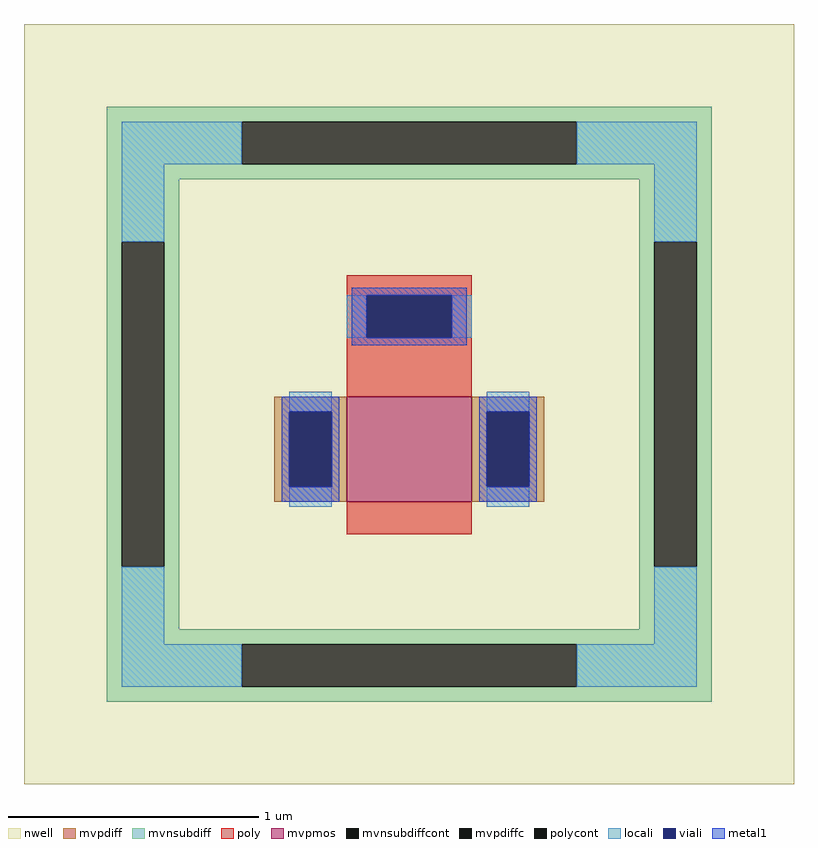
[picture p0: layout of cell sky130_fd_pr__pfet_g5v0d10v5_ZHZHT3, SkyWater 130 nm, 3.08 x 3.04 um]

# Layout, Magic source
magic
tech sky130A
magscale 1 2
<< nwell >>
rect -308 -304 308 304
<< mvpmos >>
rect -50 -78 50 6
<< mvpdiff >>
rect -108 -6 -50 6
rect -108 -66 -96 -6
rect -62 -66 -50 -6
rect -108 -78 -50 -66
rect 50 -6 108 6
rect 50 -66 62 -6
rect 96 -66 108 -6
rect 50 -78 108 -66
<< mvpdiffc >>
rect -96 -66 -62 -6
rect 62 -66 96 -6
<< mvnsubdiff >>
rect -242 226 242 238
rect -242 192 -134 226
rect 134 192 242 226
rect -242 180 242 192
rect -242 130 -184 180
rect -242 -130 -230 130
rect -196 -130 -184 130
rect 184 130 242 180
rect -242 -180 -184 -130
rect 184 -130 196 130
rect 230 -130 242 130
rect 184 -180 242 -130
rect -242 -192 242 -180
rect -242 -226 -134 -192
rect 134 -226 242 -192
rect -242 -238 242 -226
<< mvnsubdiffcont >>
rect -134 192 134 226
rect -230 -130 -196 130
rect 196 -130 230 130
rect -134 -226 134 -192
<< poly >>
rect -50 87 50 103
rect -50 53 -34 87
rect 34 53 50 87
rect -50 6 50 53
rect -50 -104 50 -78
<< polycont >>
rect -34 53 34 87
<< locali >>
rect -230 192 -134 226
rect 134 192 230 226
rect -230 130 -196 192
rect 196 130 230 192
rect -50 53 -34 87
rect 34 53 50 87
rect -96 -6 -62 10
rect -96 -82 -62 -66
rect 62 -6 96 10
rect 62 -82 96 -66
rect -230 -192 -196 -130
rect 196 -192 230 -130
rect -230 -226 -134 -192
rect 134 -226 230 -192
<< viali >>
rect -34 53 34 87
rect -96 -66 -62 -6
rect 62 -66 96 -6
<< metal1 >>
rect -46 87 46 93
rect -46 53 -34 87
rect 34 53 46 87
rect -46 47 46 53
rect -102 -6 -56 6
rect -102 -66 -96 -6
rect -62 -66 -56 -6
rect -102 -78 -56 -66
rect 56 -6 102 6
rect 56 -66 62 -6
rect 96 -66 102 -6
rect 56 -78 102 -66
<< properties >>
string FIXED_BBOX -213 -209 213 209
string gencell sky130_fd_pr__pfet_g5v0d10v5
string library sky130
string parameters w 0.42 l 0.5 m 1 nf 1 diffcov 100 polycov 100 guard 1 glc 1 grc 1 gtc 1 gbc 1 tbcov 100 rlcov 100 topc 1 botc 0 poverlap 0 doverlap 1 lmin 0.50 wmin 0.42 compatible {sky130_fd_pr__pfet_01v8  sky130_fd_pr__pfet_01v8_lvt sky130_fd_pr__pfet_01v8_hvt  sky130_fd_pr__pfet_g5v0d10v5} full_metal 1 viasrc 100 viadrn 100 viagate 100 viagb 0 viagr 0 viagl 0 viagt 0
<< end >>
